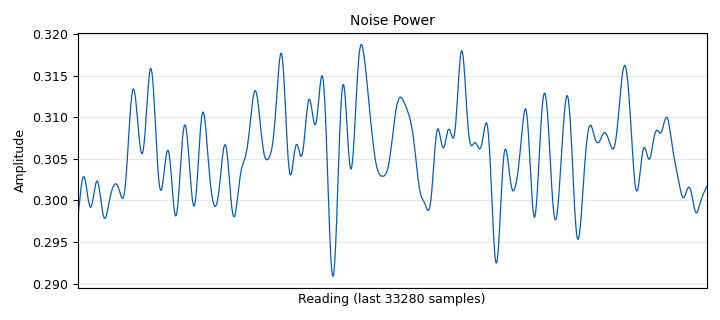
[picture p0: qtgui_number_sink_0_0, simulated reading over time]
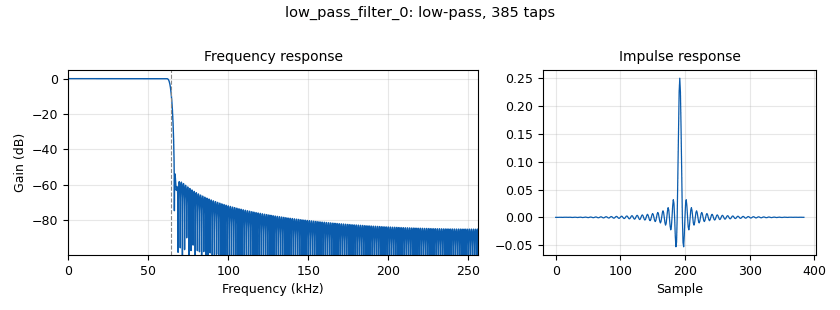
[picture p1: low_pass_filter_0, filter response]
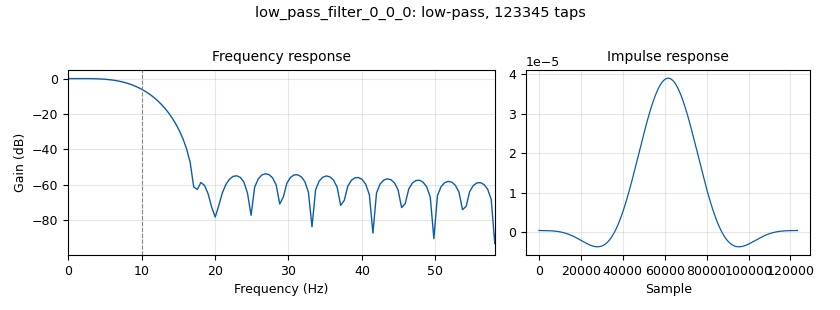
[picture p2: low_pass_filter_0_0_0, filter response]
<?xml version='1.0' encoding='utf-8'?>
<?grc format='1' created='3.7.11'?>
<flow_graph>
<block>
<key>options</key>
<param><key>id</key><value>power_x001</value></param>
<param><key>author</key><value>Maurice Woods</value></param>
<param><key>description</key><value>Lab 05</value></param>
<param><key>generate_options</key><value>qt_gui</value></param>
<param><key>title</key><value>Power/PSD Example 1</value></param>
</block>
<block>
<key>variable_qtgui_range</key>
<param><key>id</key><value>A_noise</value></param>
<param><key>value</key><value>1.11</value></param>
<param><key>gui_hint</key><value>0,3,1,1</value></param>
<param><key>label</key><value>A Noise</value></param>
<param><key>orient</key><value>Qt.Horizontal</value></param>
<param><key>start</key><value>0.01</value></param>
<param><key>step</key><value>0.01</value></param>
<param><key>stop</key><value>5</value></param>
</block>
<block>
<key>variable</key>
<param><key>id</key><value>FB</value></param>
<param><key>value</key><value>32000</value></param>
</block>
<block>
<key>variable_qtgui_range</key>
<param><key>id</key><value>fL_div_by_FB</value></param>
<param><key>value</key><value>2</value></param>
<param><key>gui_hint</key><value>0,2,1,1</value></param>
<param><key>label</key><value>fL/FB</value></param>
<param><key>orient</key><value>Qt.Horizontal</value></param>
<param><key>start</key><value>0</value></param>
<param><key>step</key><value>0.5</value></param>
<param><key>stop</key><value>8</value></param>
</block>
<block>
<key>variable</key>
<param><key>id</key><value>pparms</value></param>
<param><key>value</key><value>[]</value></param>
</block>
<block>
<key>variable</key>
<param><key>id</key><value>ptype</value></param>
<param><key>value</key><value>'rect'</value></param>
</block>
<block>
<key>variable</key>
<param><key>id</key><value>samp_rate</value></param>
<param><key>value</key><value>512000</value></param>
</block>
<block>
<key>variable</key>
<param><key>id</key><value>sps</value></param>
<param><key>value</key><value>16</value></param>
</block>
<block>
<key>analog_noise_source_x</key>
<param><key>id</key><value>analog_noise_source_x_0</value></param>
<param><key>amp</key><value>A_noise</value></param>
<param><key>noise_type</key><value>analog.GR_GAUSSIAN</value></param>
<param><key>type</key><value>float</value></param>
<param><key>seed</key><value>0</value></param>
</block>
<block>
<key>blocks_add_xx</key>
<param><key>id</key><value>blocks_add_xx_0</value></param>
<param><key>type</key><value>float</value></param>
</block>
<block>
<key>blocks_divide_xx</key>
<param><key>id</key><value>blocks_divide_xx_0</value></param>
<param><key>type</key><value>float</value></param>
</block>
<block>
<key>blocks_multiply_const_vxx</key>
<param><key>id</key><value>blocks_multiply_const_vxx_0</value></param>
<param><key>const</key><value>0.28</value></param>
<param><key>type</key><value>float</value></param>
</block>
<block>
<key>blocks_multiply_xx</key>
<param><key>id</key><value>blocks_multiply_xx_0_0</value></param>
<param><key>type</key><value>float</value></param>
</block>
<block>
<key>blocks_multiply_xx</key>
<param><key>id</key><value>blocks_multiply_xx_0_0_0</value></param>
<param><key>type</key><value>float</value></param>
</block>
<block>
<key>blocks_nlog10_ff</key>
<param><key>id</key><value>blocks_nlog10_ff_0</value></param>
<param><key>k</key><value>0</value></param>
<param><key>n</key><value>10</value></param>
</block>
<block>
<key>blocks_throttle</key>
<param><key>id</key><value>blocks_throttle_0</value></param>
<param><key>samples_per_second</key><value>FB</value></param>
<param><key>type</key><value>float</value></param>
</block>
<block>
<key>blocks_wavfile_sink</key>
<param><key>id</key><value>blocks_wavfile_sink_0</value></param>
<param><key>bits_per_sample</key><value>16</value></param>
<param><key>file</key><value>pow_x003_2FB_05SNR.wav</value></param>
<param><key>samp_rate</key><value>samp_rate</value></param>
</block>
<block>
<key>digital_glfsr_source_x</key>
<param><key>id</key><value>digital_glfsr_source_x_0</value></param>
<param><key>degree</key><value>22</value></param>
<param><key>mask</key><value>0</value></param>
<param><key>repeat</key><value>True</value></param>
<param><key>seed</key><value>1</value></param>
<param><key>type</key><value>float</value></param>
</block>
<block>
<key>import</key>
<param><key>id</key><value>import_0</value></param>
<param><key>import</key><value>import ptfun</value></param>
</block>
<block>
<key>interp_fir_filter_xxx</key>
<param><key>id</key><value>interp_fir_filter_xxx_0</value></param>
<param><key>interp</key><value>16</value></param>
<param><key>taps</key><value>ptfun.pampt(sps,ptype,pparms)</value></param>
<param><key>type</key><value>fff</value></param>
</block>
<block>
<key>low_pass_filter</key>
<param><key>id</key><value>low_pass_filter_0</value></param>
<param><key>cutoff_freq</key><value>fL_div_by_FB*FB</value></param>
<param><key>decim</key><value>1</value></param>
<param><key>type</key><value>fir_filter_fff</value></param>
<param><key>gain</key><value>1</value></param>
<param><key>samp_rate</key><value>samp_rate</value></param>
<param><key>width</key><value>3200</value></param>
<param><key>win</key><value>firdes.WIN_HAMMING</value></param>
</block>
<block>
<key>low_pass_filter</key>
<param><key>id</key><value>low_pass_filter_0_0_0</value></param>
<param><key>cutoff_freq</key><value>10</value></param>
<param><key>decim</key><value>64</value></param>
<param><key>type</key><value>fir_filter_fff</value></param>
<param><key>gain</key><value>1</value></param>
<param><key>samp_rate</key><value>samp_rate</value></param>
<param><key>width</key><value>10</value></param>
<param><key>win</key><value>firdes.WIN_HAMMING</value></param>
</block>
<block>
<key>low_pass_filter</key>
<param><key>id</key><value>low_pass_filter_0_0_0_0</value></param>
<param><key>cutoff_freq</key><value>10</value></param>
<param><key>decim</key><value>64</value></param>
<param><key>type</key><value>fir_filter_fff</value></param>
<param><key>gain</key><value>1</value></param>
<param><key>samp_rate</key><value>samp_rate</value></param>
<param><key>width</key><value>10</value></param>
<param><key>win</key><value>firdes.WIN_HAMMING</value></param>
</block>
<block>
<key>low_pass_filter</key>
<param><key>id</key><value>low_pass_filter_0_1</value></param>
<param><key>cutoff_freq</key><value>fL_div_by_FB*FB</value></param>
<param><key>decim</key><value>1</value></param>
<param><key>type</key><value>fir_filter_fff</value></param>
<param><key>gain</key><value>1</value></param>
<param><key>samp_rate</key><value>samp_rate</value></param>
<param><key>width</key><value>3200</value></param>
<param><key>win</key><value>firdes.WIN_HAMMING</value></param>
</block>
<block>
<key>note</key>
<param><key>id</key><value>note_1</value></param>
<param><key>note</key><value>pow_x003_2FB_20SNR: A=0.19</value></param>
</block>
<block>
<key>note</key>
<param><key>id</key><value>note_1_0</value></param>
<param><key>note</key><value>pow_x003_0_5FB_20SNR: A=0.35</value></param>
</block>
<block>
<key>note</key>
<param><key>id</key><value>note_1_1</value></param>
<param><key>note</key><value>pow_x003_2FB_10SNR: A=0.61</value></param>
</block>
<block>
<key>note</key>
<param><key>id</key><value>note_1_1_0</value></param>
<param><key>note</key><value>pow_x003_2FB_05SNR: A=1.11</value></param>
</block>
<block>
<key>qtgui_freq_sink_x</key>
<param><key>id</key><value>qtgui_freq_sink_x_0</value></param>
<param><key>autoscale</key><value>True</value></param>
<param><key>bw</key><value>samp_rate</value></param>
<param><key>fc</key><value>0</value></param>
<param><key>fftsize</key><value>1024</value></param>
<param><key>gui_hint</key><value>1,3,1,1</value></param>
<param><key>grid</key><value>True</value></param>
<param><key>showports</key><value>True</value></param>
<param><key>type</key><value>float</value></param>
<param><key>wintype</key><value>firdes.WIN_BLACKMAN_hARRIS</value></param>
</block>
<block>
<key>qtgui_number_sink</key>
<param><key>id</key><value>qtgui_number_sink_0</value></param>
<param><key>gui_hint</key><value>1,0,3,1</value></param>
<param><key>graph_type</key><value>qtgui.NUM_GRAPH_VERT</value></param>
<param><key>type</key><value>float</value></param>
<param><key>max</key><value>40</value></param>
<param><key>min</key><value>-15</value></param>
<param><key>name</key><value>"SNR (dB)"</value></param>
</block>
<block>
<key>qtgui_number_sink</key>
<param><key>id</key><value>qtgui_number_sink_0_0</value></param>
<param><key>gui_hint</key><value>1,1,3,1</value></param>
<param><key>graph_type</key><value>qtgui.NUM_GRAPH_VERT</value></param>
<param><key>type</key><value>float</value></param>
<param><key>max</key><value>3</value></param>
<param><key>min</key><value>0</value></param>
<param><key>name</key><value>"Noise Power"</value></param>
</block>
<block>
<key>qtgui_time_sink_x</key>
<param><key>id</key><value>qtgui_time_sink_x_0</value></param>
<param><key>autoscale</key><value>True</value></param>
<param><key>gui_hint</key><value>1,2,2,1</value></param>
<param><key>grid</key><value>True</value></param>
<param><key>color1</key><value>"blue"</value></param>
<param><key>label1</key><value></value></param>
<param><key>size</key><value>1024</value></param>
<param><key>srate</key><value>samp_rate</value></param>
<param><key>type</key><value>float</value></param>
</block>
<connection><source_block_id>analog_noise_source_x_0</source_block_id><sink_block_id>low_pass_filter_0_1</sink_block_id><source_key>0</source_key><sink_key>0</sink_key></connection>
<connection><source_block_id>blocks_add_xx_0</source_block_id><sink_block_id>blocks_multiply_const_vxx_0</sink_block_id><source_key>0</source_key><sink_key>0</sink_key></connection>
<connection><source_block_id>blocks_add_xx_0</source_block_id><sink_block_id>qtgui_freq_sink_x_0</sink_block_id><source_key>0</source_key><sink_key>0</sink_key></connection>
<connection><source_block_id>blocks_add_xx_0</source_block_id><sink_block_id>qtgui_time_sink_x_0</sink_block_id><source_key>0</source_key><sink_key>0</sink_key></connection>
<connection><source_block_id>blocks_divide_xx_0</source_block_id><sink_block_id>blocks_nlog10_ff_0</sink_block_id><source_key>0</source_key><sink_key>0</sink_key></connection>
<connection><source_block_id>blocks_multiply_const_vxx_0</source_block_id><sink_block_id>blocks_wavfile_sink_0</sink_block_id><source_key>0</source_key><sink_key>0</sink_key></connection>
<connection><source_block_id>blocks_multiply_xx_0_0</source_block_id><sink_block_id>low_pass_filter_0_0_0_0</sink_block_id><source_key>0</source_key><sink_key>0</sink_key></connection>
<connection><source_block_id>blocks_multiply_xx_0_0_0</source_block_id><sink_block_id>low_pass_filter_0_0_0</sink_block_id><source_key>0</source_key><sink_key>0</sink_key></connection>
<connection><source_block_id>blocks_nlog10_ff_0</source_block_id><sink_block_id>qtgui_number_sink_0</sink_block_id><source_key>0</source_key><sink_key>0</sink_key></connection>
<connection><source_block_id>blocks_throttle_0</source_block_id><sink_block_id>interp_fir_filter_xxx_0</sink_block_id><source_key>0</source_key><sink_key>0</sink_key></connection>
<connection><source_block_id>digital_glfsr_source_x_0</source_block_id><sink_block_id>blocks_throttle_0</sink_block_id><source_key>0</source_key><sink_key>0</sink_key></connection>
<connection><source_block_id>interp_fir_filter_xxx_0</source_block_id><sink_block_id>low_pass_filter_0</sink_block_id><source_key>0</source_key><sink_key>0</sink_key></connection>
<connection><source_block_id>low_pass_filter_0</source_block_id><sink_block_id>blocks_add_xx_0</sink_block_id><source_key>0</source_key><sink_key>0</sink_key></connection>
<connection><source_block_id>low_pass_filter_0</source_block_id><sink_block_id>blocks_multiply_xx_0_0</sink_block_id><source_key>0</source_key><sink_key>0</sink_key></connection>
<connection><source_block_id>low_pass_filter_0</source_block_id><sink_block_id>blocks_multiply_xx_0_0</sink_block_id><source_key>0</source_key><sink_key>1</sink_key></connection>
<connection><source_block_id>low_pass_filter_0_0_0</source_block_id><sink_block_id>blocks_divide_xx_0</sink_block_id><source_key>0</source_key><sink_key>1</sink_key></connection>
<connection><source_block_id>low_pass_filter_0_0_0</source_block_id><sink_block_id>qtgui_number_sink_0_0</sink_block_id><source_key>0</source_key><sink_key>0</sink_key></connection>
<connection><source_block_id>low_pass_filter_0_0_0_0</source_block_id><sink_block_id>blocks_divide_xx_0</sink_block_id><source_key>0</source_key><sink_key>0</sink_key></connection>
<connection><source_block_id>low_pass_filter_0_1</source_block_id><sink_block_id>blocks_add_xx_0</sink_block_id><source_key>0</source_key><sink_key>1</sink_key></connection>
<connection><source_block_id>low_pass_filter_0_1</source_block_id><sink_block_id>blocks_multiply_xx_0_0_0</sink_block_id><source_key>0</source_key><sink_key>0</sink_key></connection>
<connection><source_block_id>low_pass_filter_0_1</source_block_id><sink_block_id>blocks_multiply_xx_0_0_0</sink_block_id><source_key>0</source_key><sink_key>1</sink_key></connection>
</flow_graph>
